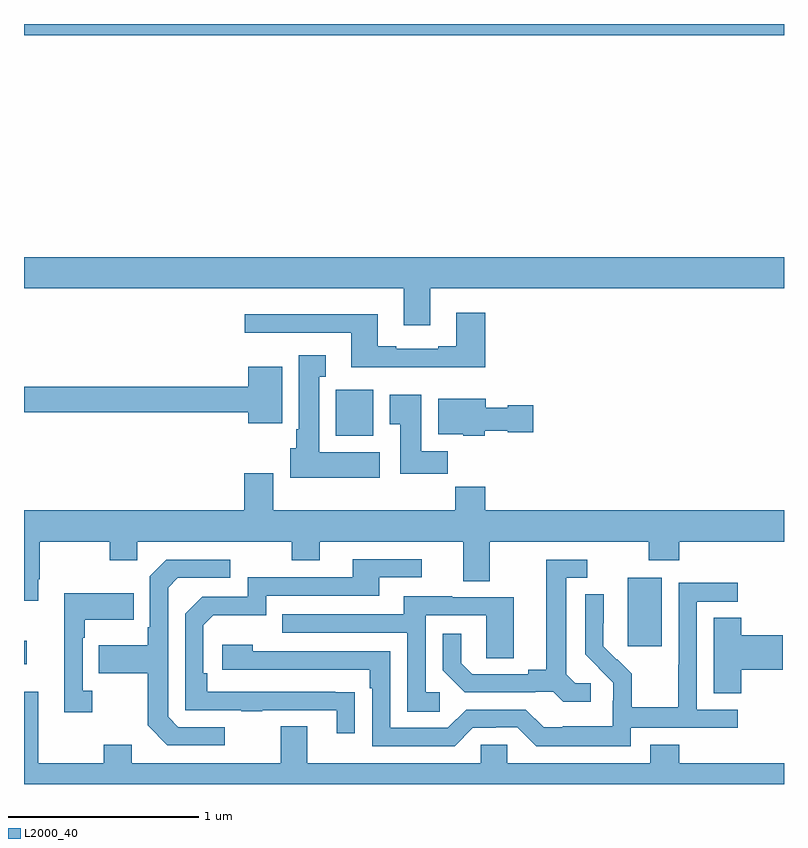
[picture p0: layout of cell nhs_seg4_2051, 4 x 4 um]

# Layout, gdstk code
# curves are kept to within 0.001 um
import gdstk
lib = gdstk.Library(unit=1e-6, precision=1e-09)
def R(c, l, rs):  # rectangles x0, y0, x1, y1
    for r in rs: c.add(gdstk.rectangle(r[:2], r[2:], *l))
def P(c, l, *ps):  # polygons
    for p in ps: c.add(gdstk.Polygon(p, *l))
L2000_40 = (2000, 40)

nhs_seg4_2051 = lib.new_cell('nhs_seg4_2051')
R(nhs_seg4_2051, L2000_40, [(217,773.531,217.015,773.653), (220.178,773.625,220.357,773.986), (218.642,774.734,218.839,774.976), (217,776.84,221,776.9)])
P(nhs_seg4_2051, L2000_40, [(219.139,775.508),(221,775.508),(221,775.672),(217,775.672),(217,775.508),(218.999,775.508),(218.999,775.314),(219.139,775.314)],
  [(219.428,775.381),(219.275,775.381),(219.275,775.204),(219.179,775.204),(219.179,775.191),(218.959,775.191),(218.959,775.204),(218.863,775.204),(218.863,775.372),(218.163,775.372),(218.163,775.275),(218.723,775.275),(218.723,775.094),(219.428,775.094)],
  [(218.872,774.646),(218.554,774.646),(218.554,775.043),(218.587,775.043),(218.587,775.156),(218.447,775.156),(218.447,774.766),(218.432,774.766),(218.432,774.666),(218.402,774.666),(218.402,774.512),(218.872,774.512)],
  [(218.359,775.096),(218.18,775.096),(218.18,774.992),(217,774.992),(217,774.856),(218.18,774.856),(218.18,774.8),(218.359,774.8)],
  [(219.23,774.652),(219.091,774.652),(219.091,774.949),(218.924,774.949),(218.924,774.793),(218.981,774.793),(218.981,774.534),(219.23,774.534)],
  [(219.426,774.758),(219.546,774.758),(219.546,774.751),(219.679,774.751),(219.679,774.893),(219.546,774.893),(219.546,774.88),(219.43,774.88),(219.43,774.928),(219.179,774.928),(219.179,774.74),(219.312,774.74),(219.312,774.734),(219.426,774.734)],
  [(217.075,773.977),(217.083,773.977),(217.083,774.176),(217.45,774.176),(217.45,774.077),(217.596,774.077),(217.596,774.176),(218.41,774.176),(218.41,774.077),(218.557,774.077),(218.557,774.176),(219.311,774.176),(219.311,773.968),(219.451,773.968),(219.451,774.176),(220.288,774.176),(220.288,774.077),(220.448,774.077),(220.448,774.176),(221,774.176),(221,774.34),(219.428,774.34),(219.428,774.464),(219.271,774.464),(219.271,774.34),(218.311,774.34),(218.311,774.535),(218.159,774.535),(218.159,774.34),(217,774.34),(217,773.865),(217.075,773.865)],
  [(218.741,773.384),(217.964,773.385),(217.964,773.482),(217.944,773.482),(217.944,773.736),(217.997,773.789),(218.274,773.789),(218.274,773.892),(218.869,773.892),(218.869,773.988),(219.094,773.988),(219.094,774.084),(218.729,774.084),(218.729,773.988),(218.178,773.988),(218.178,773.886),(217.938,773.886),(217.848,773.796),(217.848,773.289),(218.143,773.289),(218.143,773.284),(218.255,773.284),(218.255,773.289),(218.645,773.289),(218.645,773.166),(218.741,773.166)],
  [(219.982,773.43),(219.9,773.43),(219.853,773.477),(219.853,773.985),(219.964,773.985),(219.964,774.081),(219.749,774.081),(219.749,773.501),(219.653,773.501),(219.653,773.478),(219.358,773.478),(219.301,773.535),(219.301,773.692),(219.204,773.692),(219.204,773.498),(219.32,773.382),(219.692,773.382),(219.692,773.385),(219.786,773.385),(219.838,773.333),(219.982,773.333)],
  [(218.056,773.199),(217.812,773.199),(217.758,773.253),(217.758,773.934),(217.809,773.985),(218.086,773.985),(218.086,774.081),(217.749,774.081),(217.662,773.994),(217.662,773.725),(217.65,773.725),(217.65,773.629),(217.393,773.629),(217.393,773.482),(217.65,773.482),(217.65,773.209),(217.755,773.103),(218.056,773.103)],
  [(220.194,773.196),(220.756,773.196),(220.756,773.292),(220.542,773.292),(220.542,773.859),(220.756,773.859),(220.756,773.958),(220.446,773.958),(220.446,773.528),(220.444,773.528),(220.444,773.305),(220.199,773.305),(220.199,773.479),(220.122,773.556),(220.119,773.553),(220.049,773.624),(220.05,773.9),(219.954,773.9),(219.954,773.582),(220.1,773.434),(220.1,773.337),(220.098,773.337),(220.098,773.203),(219.835,773.203),(219.835,773.199),(219.735,773.199),(219.642,773.292),(219.327,773.292),(219.231,773.196),(218.928,773.196),(218.928,773.598),(218.204,773.598),(218.204,773.632),(218.043,773.632),(218.043,773.502),(218.819,773.502),(218.819,773.405),(218.832,773.405),(218.832,773.1),(219.267,773.1),(219.363,773.196),(219.482,773.196),(219.482,773.199),(219.597,773.199),(219.697,773.099),(220.194,773.099)],
  [(217.36,773.39),(217.308,773.39),(217.308,773.669),(217.321,773.669),(217.321,773.765),(217.577,773.765),(217.577,773.905),(217.211,773.905),(217.211,773.277),(217.36,773.277)],
  [(219.187,773.382),(219.114,773.382),(219.114,773.787),(219.432,773.787),(219.432,773.563),(219.577,773.563),(219.577,773.883),(219.253,773.883),(219.253,773.887),(218.999,773.887),(218.999,773.793),(218.359,773.793),(218.359,773.697),(219.018,773.697),(219.018,773.281),(219.187,773.281)],
  [(220.775,773.501),(220.993,773.501),(220.993,773.684),(220.775,773.684),(220.775,773.774),(220.631,773.774),(220.631,773.377),(220.775,773.377)],
  [(221,773.008),(220.448,773.008),(220.448,773.107),(220.295,773.107),(220.295,773.008),(219.543,773.008),(219.543,773.106),(219.405,773.106),(219.405,773.008),(218.491,773.008),(218.491,773.203),(218.351,773.203),(218.351,773.008),(217.567,773.008),(217.567,773.107),(217.42,773.107),(217.42,773.008),(217.075,773.008),(217.075,773.386),(217,773.386),(217,772.9),(221,772.9)])

lib.write_gds('nhs_seg4_2051.gds')
